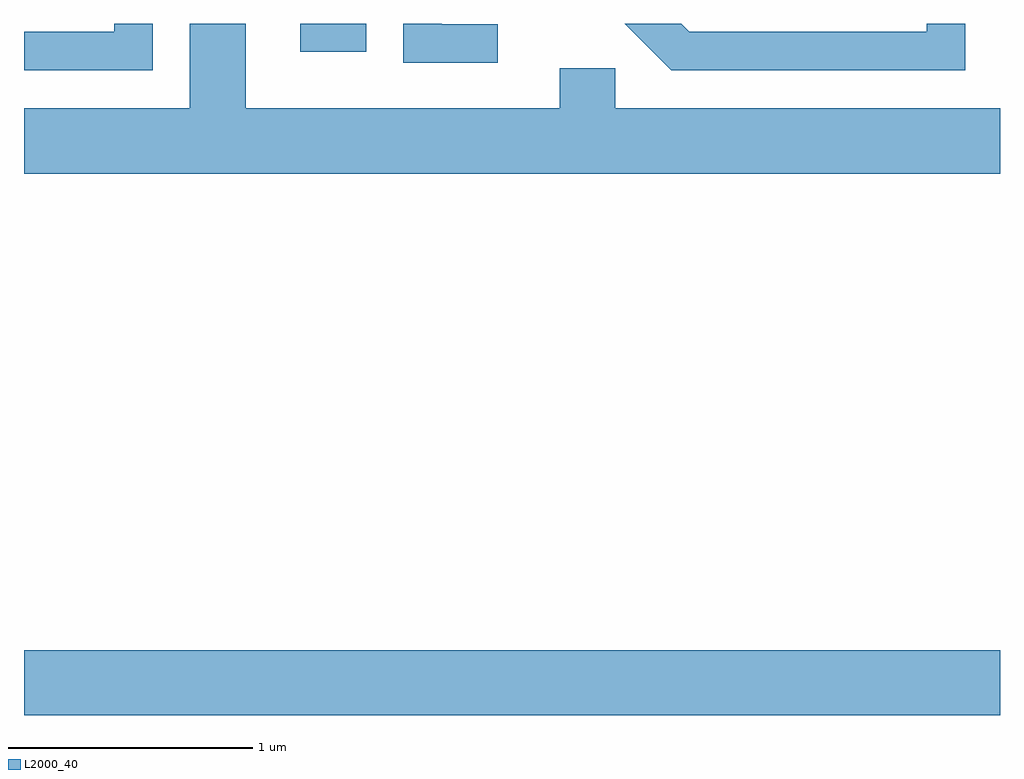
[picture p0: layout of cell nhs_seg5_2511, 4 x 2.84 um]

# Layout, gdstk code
import gdstk
lib = gdstk.Library(unit=1e-6, precision=1e-09)
def R(c, l, rs):  # rectangles x0, y0, x1, y1
    for r in rs: c.add(gdstk.rectangle(r[:2], r[2:], *l))
def P(c, l, *ps):  # polygons
    for p in ps: c.add(gdstk.Polygon(p, *l))
L2000_40 = (2000, 40)

nhs_seg5_2511 = lib.new_cell('nhs_seg5_2511')
R(nhs_seg5_2511, L2000_40, [(259.611,1461.236,263.611,1461.504), (260.743,1463.956,261.014,1464.072)])
P(nhs_seg5_2511, L2000_40, [(263.611,1463.724),(262.034,1463.724),(262.034,1463.889),(261.806,1463.889),(261.806,1463.724),(260.519,1463.724),(260.519,1464.072),(260.291,1464.072),(260.291,1463.724),(259.611,1463.724),(259.611,1463.456),(263.611,1463.456)],
  [(261.553,1464.069),(261.324,1464.069),(261.324,1464.072),(261.166,1464.072),(261.166,1463.911),(261.553,1463.911)],
  [(260.139,1464.072),(259.981,1464.072),(259.981,1464.039),(259.611,1464.039),(259.611,1463.881),(260.139,1463.881)],
  [(263.469,1464.072),(263.311,1464.072),(263.311,1464.039),(262.337,1464.039),(262.304,1464.072),(262.073,1464.072),(262.264,1463.881),(263.469,1463.881)])

lib.write_gds('nhs_seg5_2511.gds')
